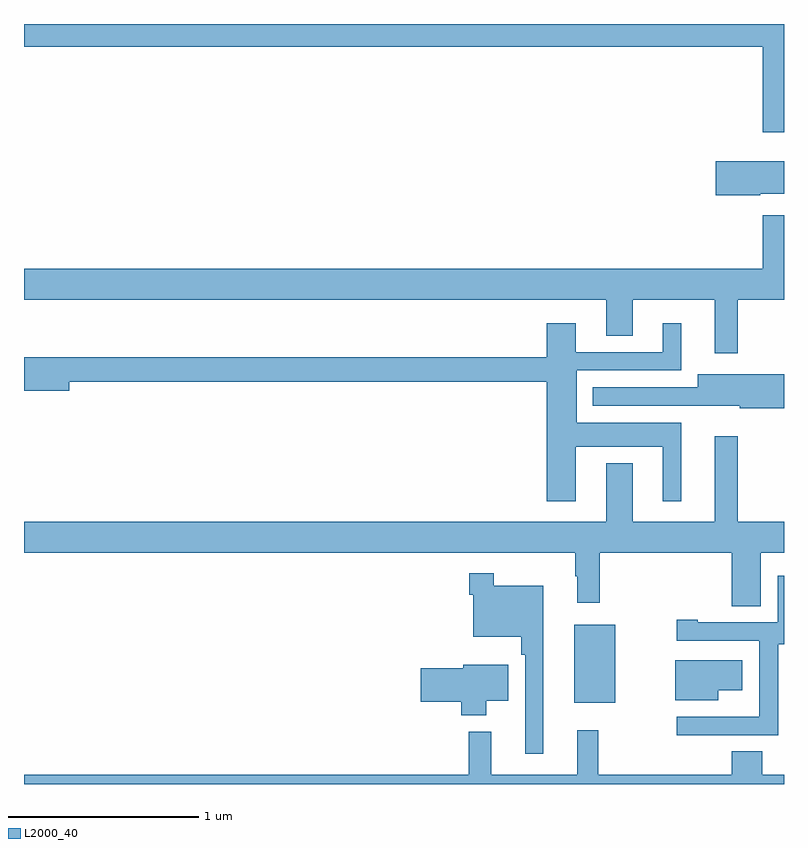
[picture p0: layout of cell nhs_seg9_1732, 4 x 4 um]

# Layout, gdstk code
import gdstk
lib = gdstk.Library(unit=1e-6, precision=1e-09)
def R(c, l, rs):  # rectangles x0, y0, x1, y1
    for r in rs: c.add(gdstk.rectangle(r[:2], r[2:], *l))
def P(c, l, *ps):  # polygons
    for p in ps: c.add(gdstk.Polygon(p, *l))
L2000_40 = (2000, 40)

nhs_seg9_1732 = lib.new_cell('nhs_seg9_1732')
R(nhs_seg9_1732, L2000_40, [(209.897,1232.927,210.112,1233.337)])
P(nhs_seg9_1732, L2000_40, [(211,1236.5),(207,1236.5),(207,1236.38),(210.888,1236.38),(210.888,1235.931),(211,1235.931)],
  [(210.876,1235.606),(211,1235.606),(211,1235.777),(210.642,1235.777),(210.642,1235.599),(210.876,1235.599)],
  [(210.757,1235.048),(211,1235.048),(211,1235.494),(210.888,1235.494),(210.888,1235.212),(207,1235.212),(207,1235.048),(210.065,1235.048),(210.065,1234.858),(210.205,1234.858),(210.205,1235.048),(210.635,1235.048),(210.635,1234.767),(210.757,1234.767)],
  [(209.905,1234.274),(210.362,1234.274),(210.362,1233.987),(210.46,1233.987),(210.46,1234.402),(209.908,1234.402),(209.908,1234.677),(210.46,1234.677),(210.46,1234.924),(210.362,1234.924),(210.362,1234.773),(209.905,1234.773),(209.905,1234.924),(209.75,1234.924),(209.75,1234.747),(207,1234.747),(207,1234.571),(207.238,1234.571),(207.238,1234.618),(209.75,1234.618),(209.75,1233.987),(209.905,1233.987)],
  [(211,1234.656),(210.545,1234.656),(210.545,1234.587),(209.993,1234.587),(209.993,1234.491),(210.549,1234.491),(210.549,1234.49),(210.768,1234.49),(210.768,1234.478),(211,1234.478)],
  [(210.877,1233.716),(211,1233.716),(211,1233.88),(210.757,1233.88),(210.757,1234.33),(210.635,1234.33),(210.635,1233.88),(210.205,1233.88),(210.205,1234.189),(210.065,1234.189),(210.065,1233.88),(207,1233.88),(207,1233.716),(209.901,1233.716),(209.901,1233.593),(209.912,1233.593),(209.912,1233.453),(210.029,1233.453),(210.029,1233.716),(210.725,1233.716),(210.725,1233.436),(210.877,1233.436)],
  [(209.734,1233.544),(209.473,1233.544),(209.473,1233.61),(209.344,1233.61),(209.344,1233.497),(209.364,1233.497),(209.364,1233.275),(209.617,1233.275),(209.617,1233.179),(209.637,1233.179),(209.637,1232.658),(209.734,1232.658)],
  [(210.969,1233.235),(211,1233.235),(211,1233.597),(210.966,1233.597),(210.966,1233.351),(210.547,1233.351),(210.547,1233.364),(210.435,1233.364),(210.435,1233.255),(210.87,1233.255),(210.87,1232.854),(210.869,1232.854),(210.869,1232.853),(210.435,1232.853),(210.435,1232.757),(210.969,1232.757)],
  [(210.655,1232.993),(210.781,1232.993),(210.781,1233.151),(210.428,1233.151),(210.428,1232.942),(210.655,1232.942)],
  [(209.434,1232.939),(209.548,1232.939),(209.548,1233.127),(209.312,1233.127),(209.312,1233.11),(209.088,1233.11),(209.088,1232.932),(209.3,1232.932),(209.3,1232.861),(209.434,1232.861)],
  [(211,1232.548),(210.885,1232.548),(210.885,1232.672),(210.725,1232.672),(210.725,1232.548),(210.022,1232.548),(210.022,1232.782),(209.912,1232.782),(209.912,1232.548),(209.459,1232.548),(209.459,1232.776),(209.341,1232.776),(209.341,1232.548),(207,1232.548),(207,1232.5),(211,1232.5)])

lib.write_gds('nhs_seg9_1732.gds')
